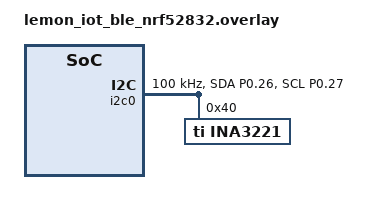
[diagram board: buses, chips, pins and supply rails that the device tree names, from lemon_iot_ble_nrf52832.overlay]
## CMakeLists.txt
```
cmake_minimum_required(VERSION 3.20.0)
find_package(Zephyr REQUIRED HINTS $ENV{ZEPHYR_BASE})

project(sensor-ina3221)

target_sources(app PRIVATE src/main.c)
```

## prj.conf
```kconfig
CONFIG_SENSOR=y
CONFIG_I2C=y
CONFIG_INA3221=y

CONFIG_PRINTK=y
CONFIG_CBPRINTF_COMPLETE=y
CONFIG_CBPRINTF_FP_SUPPORT=y

CONFIG_SHELL=y
CONFIG_SHELL_MINIMAL=n
CONFIG_SHELL_STACK_SIZE=2048
CONFIG_SHELL_BACKEND_SERIAL=y
CONFIG_SHELL_PROMPT_UART=""
CONFIG_SHELL_ECHO_STATUS=n
CONFIG_SHELL_VT100_COMMANDS=n
CONFIG_SHELL_VT100_COLORS=n
```

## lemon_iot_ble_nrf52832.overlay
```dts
/*
 * DeviceTree overlay for Lemon IoT BLE nRF52832 Board
 *
 * Copyright (c) 2023 Aaron Mohtar & Co Pty Ltd
 * SPDX-License-Identifier: Apache-2.0
 */

 &pinctrl {

	i2c0_default: i2c0_default {
		group1 {
			psels = <NRF_PSEL(TWIM_SDA, 0, 26)>,
					<NRF_PSEL(TWIM_SCL, 0, 27)>;
			bias-pull-up;
		};
	};

	i2c0_sleep: i2c0_sleep {
		group1 {
			psels = <NRF_PSEL(TWIM_SDA, 0, 26)>,
					<NRF_PSEL(TWIM_SCL, 0, 27)>;
			low-power-enable;
		};
	};
};

&i2c0 {
	compatible = "nordic,nrf-twim";
	status = "okay";
	pinctrl-0 = <&i2c0_default>;
	pinctrl-1 = <&i2c0_sleep>;
	pinctrl-names = "default", "sleep";
	clock-frequency = <100000>;
	
	ina3221@40 {
		status = "okay";
		compatible = "ti,ina3221";
		reg = <0x40>;
		shunt-resistors = < 100 100 100 >;
		enable-channel = <1 1 1>;
		conv-time-bus = <7>;
		conv-time-shunt = <3>;
		avg-mode = <2>;
	};
};
```

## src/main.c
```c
/* 
 * INA3221 example
 * https://www.ti.com/lit/gpn/INA3221
 * 
 * Copyright 2023 Aaron Mothar & Co Pty Ltd
 * Copyright (c) Aaron Mohtar & Craig Peacock
 * SPDX-License-Identifier: Apache-2.0
 * 
 * If this example does not work due to sensor driver issue, check the following:
 * - The ina3221 folder is under zephyr/drivers/sensor. The folder can be downloaded from: https://github.com/zephyrproject-rtos/zephyr/tree/d44e96e486ae442d523c3b88ba1ec39b6d5891bd/drivers/sensor/ina3221
 * - This line is added to CMakeLists.txt (found in zephyr/drivers/sensor): add_subdirectory_ifdef(CONFIG_INA3221 ina3221)
 * - This line is added to Kconfig (found in zephyr/drivers/sensor): source "drivers/sensor/ina3221/Kconfig"
 * - This file is in the zephyr\dts\bindings\sensor folder: ti,ina3221.yaml. This can be found here https://github.com/zephyrproject-rtos/zephyr/blob/d44e96e486ae442d523c3b88ba1ec39b6d5891bd/dts/bindings/sensor/ti%2Cina3221.yaml
 *
 * Other potential errors: a float function in ina3221.c. The function can be found online in sensor.c (?)
 */

#include <stdio.h>
#include <zephyr/kernel.h>
#include <zephyr/sys/printk.h>
#include <zephyr/device.h>
#include <zephyr/drivers/sensor.h>
#include <zephyr/shell/shell.h>

/*
 * The following is defined in zephyr/drivers/sensor/ti/ina3221/ina3221.h
 * It should have a specific header file in zephyr/include/zephyr/drivers/sensor/ that we can include, but doesn't.
 */
#define SENSOR_ATTR_INA3221_SELECTED_CHANNEL (SENSOR_ATTR_PRIV_START+1)

const struct device *dev_ina3221 = DEVICE_DT_GET_ANY(ti_ina3221);

static int ina3221_cmd_configure_handler(const struct shell *sh, size_t argc, char **argv);
static int ina3221_cmd_measure_handler(const struct shell *sh, size_t argc, char **argv);

// Shell configuration
SHELL_STATIC_SUBCMD_SET_CREATE
(sub_ina3221,
	SHELL_CMD(configure, NULL, "not yet implemented", ina3221_cmd_configure_handler),
	SHELL_CMD(measure, NULL, "measure <channel number>", ina3221_cmd_measure_handler),
	SHELL_SUBCMD_SET_END
);

SHELL_CMD_REGISTER(ina3221, &sub_ina3221, "INA3221 based measurement system", NULL);

int main(void)
{
	printk("INA3221 Sensor Example with Shell\n");

	if (!dev_ina3221) {
		printk("I2C: Device driver for ina3221 not found\n");
	}

	while(1) {
		k_msleep(2000);
	}

	return 0;
}

static int ina3221_cmd_configure_handler(const struct shell *sh, size_t argc, char **argv)
{
	shell_print(sh,"INA3221 configure command received - not implemented yet\n");
	return 0;
}

static int ina3221_cmd_measure_handler(const struct shell *sh, size_t argc, char **argv)
{
	double voltage;
	double current;
	double power;

	int channel = atoi(argv[1]); 

	struct sensor_value value;
	value.val1 = channel;
	sensor_attr_set(dev_ina3221, SENSOR_CHAN_VOLTAGE, SENSOR_ATTR_INA3221_SELECTED_CHANNEL, &value);

	sensor_sample_fetch(dev_ina3221);

	sensor_channel_get(dev_ina3221, SENSOR_CHAN_VOLTAGE, &value);
	voltage = sensor_value_to_double(&value);

	sensor_channel_get(dev_ina3221, SENSOR_CHAN_CURRENT, &value);
	current = sensor_value_to_double(&value);

	sensor_channel_get(dev_ina3221, SENSOR_CHAN_POWER, &value);
	power = sensor_value_to_double(&value);

	shell_print(sh,"INA3221 CH%d %2.2fV %2.3fA %2.2fW", channel, voltage, current, power);
	return 0;
}
```
